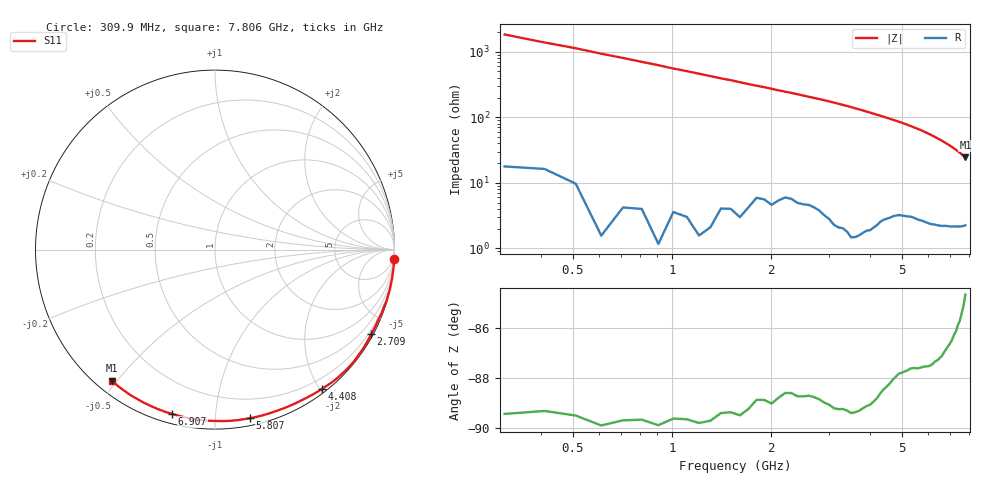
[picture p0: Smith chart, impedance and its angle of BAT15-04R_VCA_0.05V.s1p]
! Infineon Technologies  Discrete & RF Semiconductors
! BAT15-04R
! VCA = 0.05 V
! One-Port S-Parameters
# Hz  S  MA  R  50
!f  S11
!Hz  Mag  Ang
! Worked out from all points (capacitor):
!   76 points, 309.9 MHz to 7.806 GHz, reference 50 ohm
!   read as one part to ground: C = 280 fF near 309.9 MHz
!   lowest |Z| = 24.4 ohm at 7.806 GHz (marker M1)
!   S11 on the Smith chart (normalised r, x): 309.9 MHz: 0, -37; 2.709 GHz: 0.08, -3.94; 4.408 GHz: 0.05, -2.03; 5.807 GHz: 0.05, -1.23; 6.907 GHz: 0.04, -0.77; 7.806 GHz: 0.05, -0.49
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3.0985e8  0.9995 -3.1
9.0955e8  0.9997 -9.2
1.30935e9  0.9989 -13.4
1.6092e9  0.9975 -16.6
2.009e9  0.994 -20.8
2.2089e9  0.9906 -23.0
2.4088e9  0.9907 -25.1
2.70865e9  0.9898 -28.5
2.90855e9  0.9911 -30.8
3.2084e9  0.9927 -34.5
3.50825e9  0.9936 -38.6
3.70815e9  0.9921 -41.5
4.10795e9  0.9865 -47.5
4.4078e9  0.9789 -52.3
4.70765e9  0.9719 -57.3
5.0075e9  0.9664 -62.5
5.30735e9  0.9624 -68.1
5.6072e9  0.9608 -74.1
5.8071e9  0.9591 -78.3
6.007e9  0.9583 -82.8
6.2069e9  0.9565 -87.4
6.50675e9  0.9528 -94.7
6.70665e9  0.9498 -99.6
6.90655e9  0.9466 -104.6
7.10645e9  0.9439 -109.7
7.30635e9  0.9407 -114.8
7.6062e9  0.9349 -122.7
7.8061e9  0.9294 -128.1
